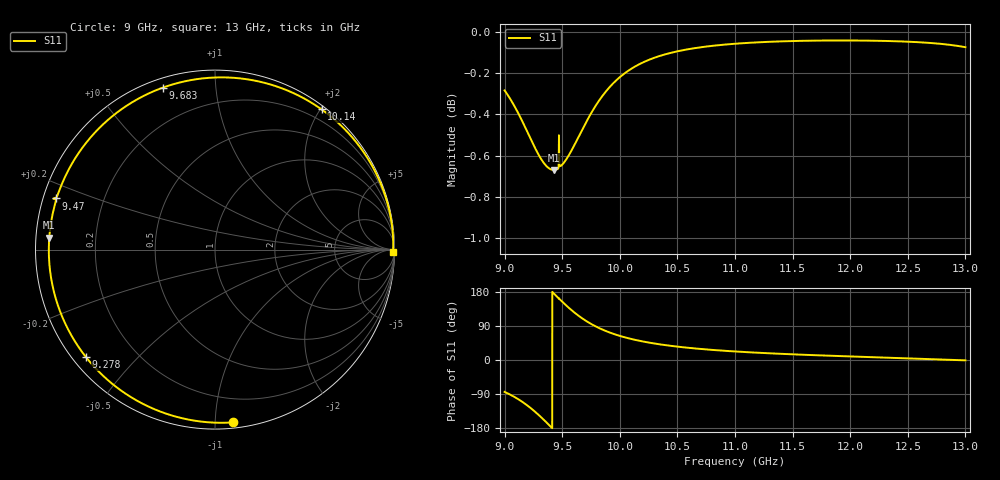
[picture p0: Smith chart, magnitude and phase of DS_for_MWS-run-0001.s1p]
! TOUCHSTONE file generated by CST DESIGN STUDIO
! Date and time: Tue Feb  4 14:31:24 2025
! Project name: C:\Work\MatlabApps\UnitCellOptimizationMatlab\CST\unitcell.cst
! Tree item: Tasks\Sweep1\SPara1\S-Parameters
! Header version: 2024
! Port assignment regex: !\s*Touchstone port\s*([0-9]+)\s*=\s*(CST MWS port|CST DES external port|CST DES block port)\s*(.+)\s* \(\"(.*)\"\)(\s*mode\s*([0-9]+))?.*
! Touchstone port assignment:
! Touchstone port 1 = CST DES external port 1 ("")
# GHz S MA R 50
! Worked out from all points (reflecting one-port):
!   4001 points, 9 GHz to 13 GHz, reference 50 ohm
!   lowest |S11| = -0.7 dB at 9.427 GHz (marker M1), VSWR 25.95, Z = 1.93 + j1.82 ohm
!   phase of S11 starts at -84 deg and turns -277 deg over the sweep
!   S11 on the Smith chart (normalised r, x): 9 GHz: 0.04, -1.11; 9.278 GHz: 0.04, -0.36; 9.47 GHz: 0.04, +0.16; 9.683 GHz: 0.04, +0.73; 10.14 GHz: 0.05, +2.01; 13 GHz: open
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9  0.968 -84.2
9.083  0.9597 -97.1
9.153  0.9514 -110.3
9.217  0.9432 -124.6
9.278  0.9356 -140.2
9.32  0.9312 -151.9
9.357  0.9282 -162.8
9.392  0.9264 -173.4
9.427  0.9258 175.8
9.47  0.931 162.2
9.5  0.9286 153.9
9.546  0.9323 140.8
9.59  0.937 129.2
9.635  0.9423 118.3
9.683  0.948 107.9
9.754  0.956 94.6
9.839  0.9641 81.6
9.917  0.9701 72.0
10  0.9751 63.6
10.138  0.9812 52.8
10.301  0.9858 43.5
10.5  0.9894 35.3
10.723  0.9918 28.6
11  0.9936 22.5
11.5  0.9951 15.0
12  0.9954 9.4
12.5  0.9947 4.6
13  0.9916 -0.9
